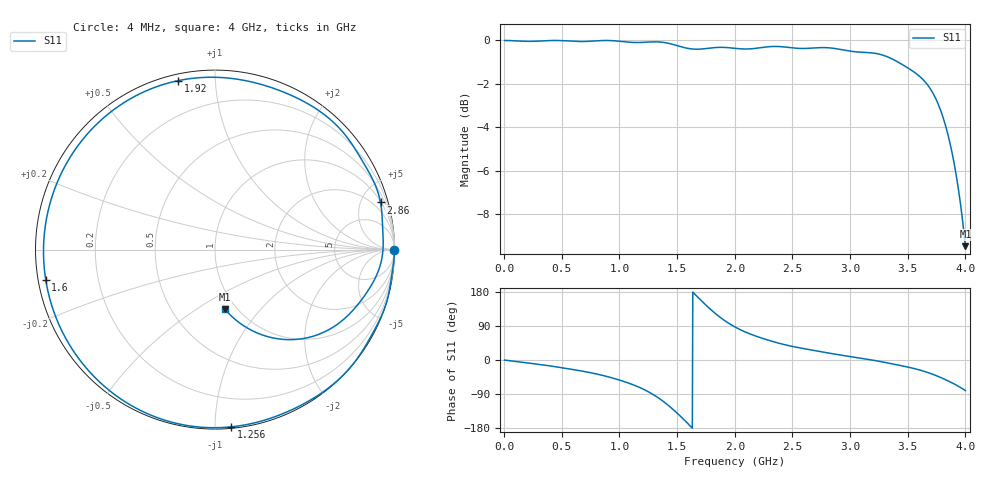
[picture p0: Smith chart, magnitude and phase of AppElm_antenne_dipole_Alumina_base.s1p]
! TOUCHSTONE file generated by CST MICROWAVE STUDIO
! Date and time: Thu May 12 19:46:01 2022
! Project name: AppElm_antenne_dipole_Alumina.cst
! Parameters = {L=19.94; e=0.035; f=2.45e+09; h=1.6; i=0.8; l1=15.31; lambda=122.449; ls=30; wl=1.7; ws=80}
! Header version: 2018
! Port assignment regex: !\s*Touchstone port\s*([0-9]+)\s*=\s*(CST MWS port|CST DS port)\s*([0-9]+|Zmin|Zmax)\s*\(\"(.*)\"\)(\s*mode\s*([0-9]+))?.*
! Touchstone port assignment:
! Touchstone port 1 = CST MWS port 1 ("")
# GHz S MA R 50
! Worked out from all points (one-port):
!   1000 points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, 4 MHz to 4 GHz, reference 50 ohm
!   lowest |S11| = -9.5 dB at 4 GHz (marker M1), VSWR 2.01, Z = 44.2 - j33 ohm
!   |S11| at or under -10 dB: nowhere
!   S11 on the Smith chart (normalised r, x): 4 MHz: open; 1.256 GHz: 0.01, -1.10; 1.6 GHz: 0.02, -0.09; 1.92 GHz: 0.03, +0.80; 2.86 GHz: 1.08, +7.00; 4 GHz: 0.88, -0.66
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0.004  0.9999 -0.2
0.504  0.9991 -20.6
0.804  0.9981 -37.0
1.004  0.9955 -53.4
1.144  0.9891 -68.5
1.256  0.9917 -84.7
1.328  0.9925 -98.0
1.388  0.9892 -111.1
1.444  0.9823 -124.9
1.504  0.9722 -141.3
1.6  0.9581 -169.8
1.684  0.9547 164.3
1.776  0.9597 137.4
1.848  0.9636 118.6
1.92  0.9635 102.4
2.004  0.959 86.8
2.108  0.9557 71.8
2.236  0.9634 57.5
2.368  0.9686 45.4
2.504  0.9611 35.6
2.86  0.9588 15.9
3.004  0.9445 9.0
3.268  0.9278 -4.4
3.504  0.8633 -18.9
3.66  0.7974 -31.6
3.8  0.6727 -48.1
3.896  0.5315 -62.1
4  0.3356 -80.7
